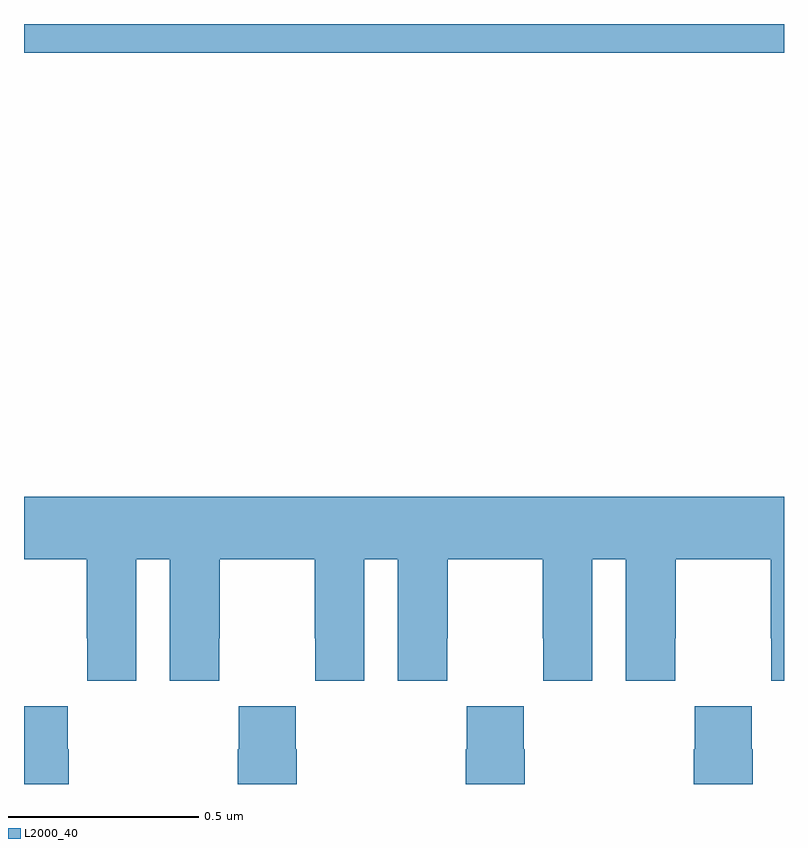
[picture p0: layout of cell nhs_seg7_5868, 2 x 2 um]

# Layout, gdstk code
import gdstk
lib = gdstk.Library(unit=1e-6, precision=1e-09)
def R(c, l, rs):  # rectangles x0, y0, x1, y1
    for r in rs: c.add(gdstk.rectangle(r[:2], r[2:], *l))
def P(c, l, *ps):  # polygons
    for p in ps: c.add(gdstk.Polygon(p, *l))
L2000_40 = (2000, 40)

nhs_seg7_5868 = lib.new_cell('nhs_seg7_5868')
R(nhs_seg7_5868, L2000_40, [(191,1025.924,193,1026)])
P(nhs_seg7_5868, L2000_40, [(191,1024.592),(191.165,1024.592),(191.165,1024.384),(191.166,1024.384),(191.166,1024.272),(191.296,1024.272),(191.296,1024.592),(191.384,1024.592),(191.384,1024.272),(191.514,1024.272),(191.514,1024.384),(191.515,1024.384),(191.515,1024.592),(191.765,1024.592),(191.765,1024.384),(191.766,1024.384),(191.766,1024.272),(191.896,1024.272),(191.896,1024.592),(191.984,1024.592),(191.984,1024.272),(192.114,1024.272),(192.114,1024.384),(192.115,1024.384),(192.115,1024.592),(192.365,1024.592),(192.365,1024.384),(192.366,1024.384),(192.366,1024.272),(192.496,1024.272),(192.496,1024.592),(192.584,1024.592),(192.584,1024.272),(192.714,1024.272),(192.714,1024.384),(192.715,1024.384),(192.715,1024.592),(192.965,1024.592),(192.965,1024.384),(192.966,1024.384),(192.966,1024.272),(193,1024.272),(193,1024.756),(191,1024.756)],
  [(191.718,1024.091),(191.715,1024.091),(191.715,1024.204),(191.565,1024.204),(191.565,1024.091),(191.563,1024.091),(191.563,1024),(191.718,1024)],
  [(192.318,1024.091),(192.315,1024.091),(192.315,1024.204),(192.165,1024.204),(192.165,1024.091),(192.163,1024.091),(192.163,1024),(192.318,1024)],
  [(192.918,1024.091),(192.915,1024.091),(192.915,1024.204),(192.765,1024.204),(192.765,1024.091),(192.763,1024.091),(192.763,1024),(192.918,1024)],
  [(191.118,1024.091),(191.115,1024.091),(191.115,1024.204),(191,1024.204),(191,1024),(191.118,1024)])

lib.write_gds('nhs_seg7_5868.gds')
